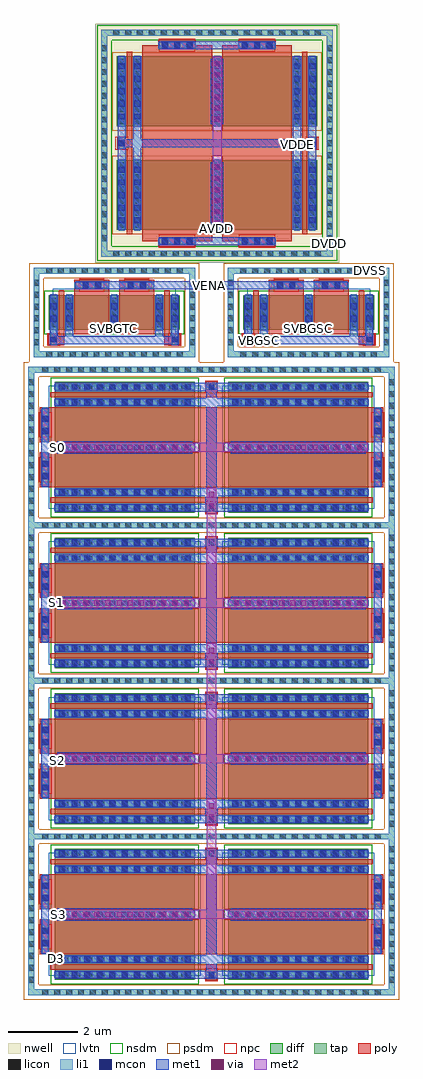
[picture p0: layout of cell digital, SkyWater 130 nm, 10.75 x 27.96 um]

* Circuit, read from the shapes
.subckt digital AVDD D3 DVDD DVSS ENA S0 S1 S2 S3 SVBGSC SVBGTC VBGSC VBGTC VDDE VENA trim0 trim1 trim2 trim3
XM1 D3 D3 D3 DVSS sky130_fd_pr__nfet_01v8_lvt w=4 l=0.15 m=4
XM2 S3 trim3 D3 DVSS sky130_fd_pr__nfet_01v8_lvt w=4 l=1 m=4
XM3 S3 S3 S3 DVSS sky130_fd_pr__nfet_01v8_lvt w=4 l=0.15 m=4
XM4 S2 trim2 S3 DVSS sky130_fd_pr__nfet_01v8_lvt w=4 l=1 m=4
XM5 S2 S2 S2 DVSS sky130_fd_pr__nfet_01v8_lvt w=4 l=0.15 m=4
XM6 S1 trim1 S2 DVSS sky130_fd_pr__nfet_01v8_lvt w=4 l=1 m=4
XM7 S1 S1 S1 DVSS sky130_fd_pr__nfet_01v8_lvt w=4 l=0.15 m=4
XM8 S0 trim0 S1 DVSS sky130_fd_pr__nfet_01v8_lvt w=4 l=1 m=4
XM9 VBGTC VBGTC VBGTC DVSS sky130_fd_pr__nfet_01v8_lvt w=1 l=0.15 m=2
XM10 SVBGTC VENA VBGTC DVSS sky130_fd_pr__nfet_01v8_lvt w=1 l=1 m=2
XM11 VBGSC VBGSC VBGSC DVSS sky130_fd_pr__nfet_01v8_lvt w=1 l=0.15 m=2
XM12 SVBGSC VENA VBGSC DVSS sky130_fd_pr__nfet_01v8_lvt w=1 l=1 m=2
XM13 VDDE VDDE VDDE DVDD sky130_fd_pr__pfet_01v8 w=2 l=0.15 m=4
XM14 AVDD ENA VDDE DVDD sky130_fd_pr__pfet_01v8 w=2 l=2 m=4
.ends

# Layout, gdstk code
from math import pi, radians
import gdstk
lib = gdstk.Library(unit=1e-6, precision=1e-09)
def R(c, l, rs):  # rectangles x0, y0, x1, y1
    for r in rs: c.add(gdstk.rectangle(r[:2], r[2:], *l))
def A(c, l, x, y, w, h, nx, ny, dx, dy):  # array of equal rectangles
    R(c, l, [(x+i*dx, y+j*dy, x+i*dx+w, y+j*dy+h) for i in range(nx) for j in range(ny)])
nwell = (64, 20)
diff = (65, 20)
tap = (65, 44)
poly = (66, 20)
licon = (66, 44)
li1 = (67, 20)
mcon = (67, 44)
met1 = (68, 20)
via = (68, 44)
met2 = (69, 20)
nsdm = (93, 44)
psdm = (94, 20)
npc = (95, 20)
lvtn = (125, 44)

sky130_fd_pr__nfet_01v8_ = lib.new_cell('sky130_fd_pr__nfet_01v8_lvt_U8VHVM')
R(sky130_fd_pr__nfet_01v8_, diff, [(-1.435,-0.655,1.435,0.345)])
R(sky130_fd_pr__nfet_01v8_, poly, [(-1.145,-0.785,-0.145,0.785), (0.145,-0.785,1.145,0.785)])
A(sky130_fd_pr__nfet_01v8_, licon, -1.375, -0.58, 0.17, 0.17, 3, 3, 1.29, 0.34)
R(sky130_fd_pr__nfet_01v8_, licon, [(-0.9,0.535,-0.73,0.705), (-0.56,0.535,-0.39,0.705), (0.39,0.535,0.56,0.705), (0.73,0.535,0.9,0.705)])
A(sky130_fd_pr__nfet_01v8_, li1, -1.375, -0.675, 0.17, 1.04, 3, 1, 1.29, 0)
R(sky130_fd_pr__nfet_01v8_, li1, [(-1.145,0.535,-0.145,0.705), (0.145,0.535,1.145,0.705)])
A(sky130_fd_pr__nfet_01v8_, mcon, -1.375, -0.42, 0.17, 0.17, 3, 2, 1.29, 0.36)
R(sky130_fd_pr__nfet_01v8_, mcon, [(-0.91,0.535,-0.74,0.705), (-0.55,0.535,-0.38,0.705), (0.38,0.535,0.55,0.705), (0.74,0.535,0.91,0.705)])
A(sky130_fd_pr__nfet_01v8_, met1, -1.405, -0.655, 0.23, 1, 3, 1, 1.29, 0)
R(sky130_fd_pr__nfet_01v8_, met1, [(-1.125,0.505,-0.165,0.735), (0.165,0.505,1.125,0.735)])
R(sky130_fd_pr__nfet_01v8_, nsdm, [(-1.56,-0.78,1.56,0.47)])
R(sky130_fd_pr__nfet_01v8_, npc, [(-1,0.435,-0.29,0.805), (0.29,0.435,1,0.805)])
R(sky130_fd_pr__nfet_01v8_, lvtn, [(-1.325,-0.835,1.325,0.525)])

c_sky130_fd_pr__nfet_01v8_ = lib.new_cell('sky130_fd_pr__nfet_01v8_lvt_SJFSNB')
R(c_sky130_fd_pr__nfet_01v8_, diff, [(-0.365,-0.5,0.365,0.5)])
R(c_sky130_fd_pr__nfet_01v8_, poly, [(-0.075,-0.63,0.075,0.63)])
A(c_sky130_fd_pr__nfet_01v8_, licon, -0.305, -0.425, 0.17, 0.17, 1, 3, 0, 0.34)
A(c_sky130_fd_pr__nfet_01v8_, licon, 0.135, -0.425, 0.17, 0.17, 1, 3, 0, 0.34)
R(c_sky130_fd_pr__nfet_01v8_, li1, [(-0.305,-0.52,-0.135,0.52), (0.135,-0.52,0.305,0.52)])
R(c_sky130_fd_pr__nfet_01v8_, mcon, [(-0.305,-0.265,-0.135,-0.095), (0.135,-0.265,0.305,-0.095), (-0.305,0.095,-0.135,0.265), (0.135,0.095,0.305,0.265)])
R(c_sky130_fd_pr__nfet_01v8_, met1, [(-0.335,-0.5,-0.105,0.5), (0.105,-0.5,0.335,0.5)])
R(c_sky130_fd_pr__nfet_01v8_, nsdm, [(-0.49,-0.625,0.49,0.625)])
R(c_sky130_fd_pr__nfet_01v8_, lvtn, [(-0.255,-0.68,0.255,0.68)])

vena = lib.new_cell('vena')
R(vena, tap, [(-0.88,-0.34,3.75,-0.17), (-0.88,-0.17,-0.71,2.05), (3.58,-0.17,3.75,2.05), (-0.88,2.05,3.75,2.22)])
R(vena, poly, [(-0.46,0,0,0.33), (2.87,0,3.33,0.33), (-0.15,0.33,0,0.44), (-0.15,1.44,0,1.445)])
A(vena, licon, -0.52, -0.34, 0.17, 0.17, 12, 2, 0.34, 2.39)
A(vena, licon, -0.88, 0.005, 0.17, 0.17, 1, 6, 0, 0.34)
A(vena, licon, 3.58, 0.005, 0.17, 0.17, 1, 6, 0, 0.34)
R(vena, licon, [(-0.38,0.08,-0.21,0.25), (3.08,0.08,3.25,0.25)])
R(vena, li1, [(-0.88,-0.34,3.75,-0.17), (-0.88,-0.17,-0.71,2.05), (3.58,-0.17,3.75,2.05), (-0.38,0,-0.21,0.44), (3.08,0,3.25,0.495), (-0.38,1.44,-0.21,1.445), (-0.88,2.05,3.75,2.22)])
R(vena, mcon, [(-0.38,0.08,-0.21,0.25), (3.08,0.08,3.25,0.25)])
R(vena, met1, [(-0.41,0.02,-0.18,0.03), (3.05,0.02,3.28,0.03), (-0.41,0.03,3.28,0.26), (-0.41,0.26,-0.18,0.44), (0.03,0.26,0.26,0.45), (2.61,0.26,2.84,0.475), (3.05,0.26,3.28,0.485), (1.32,1.33,1.55,1.44), (-0.41,1.44,-0.18,1.445), (1.27,1.6,1.6,1.83)])
R(vena, psdm, [(-1.005,-0.465,3.875,-0.045), (-1.005,-0.045,-0.585,1.925), (3.455,-0.045,3.875,1.925), (-1.005,1.925,3.875,2.345)])
R(vena, npc, [(-0.48,-0.02,-0.11,0.35), (2.98,-0.02,3.35,0.35)])
vena.add(gdstk.Reference(sky130_fd_pr__nfet_01v8_, (1.435,1.095)))
vena.add(gdstk.Reference(c_sky130_fd_pr__nfet_01v8_, (2.945,0.94)))
vena.add(gdstk.Reference(c_sky130_fd_pr__nfet_01v8_, (-0.075,0.94), rotation=pi))
vena.add(gdstk.Label('G', (1.42,1.77), layer=68, texttype=5))
vena.add(gdstk.Label('D', (1.41,0.16), layer=68, texttype=5))
vena.add(gdstk.Label('S', (1.44,1.4), layer=68, texttype=5))
vena.add(gdstk.Label('DVSS', (3.63,0.455), layer=67, texttype=5))

c_sky130_fd_pr__nfet_01v8__ = lib.new_cell('sky130_fd_pr__nfet_01v8_lvt_UG4D4N')
R(c_sky130_fd_pr__nfet_01v8__, diff, [(-1.435,-1.845,1.435,2.155)])
R(c_sky130_fd_pr__nfet_01v8__, poly, [(-1.145,-2.285,-0.145,2.285), (0.145,-2.285,1.145,2.285)])
A(c_sky130_fd_pr__nfet_01v8__, licon, -1.375, -1.63, 0.17, 0.17, 3, 11, 1.29, 0.34)
R(c_sky130_fd_pr__nfet_01v8__, licon, [(-0.9,-2.205,-0.73,-2.035), (-0.56,-2.205,-0.39,-2.035), (0.39,-2.205,0.56,-2.035), (0.73,-2.205,0.9,-2.035)])
A(c_sky130_fd_pr__nfet_01v8__, li1, -1.375, -1.865, 0.17, 4.04, 3, 1, 1.29, 0)
R(c_sky130_fd_pr__nfet_01v8__, li1, [(-1.145,-2.205,-0.145,-2.035), (0.145,-2.205,1.145,-2.035)])
A(c_sky130_fd_pr__nfet_01v8__, mcon, -1.375, -1.73, 0.17, 0.17, 3, 11, 1.29, 0.36)
R(c_sky130_fd_pr__nfet_01v8__, mcon, [(-0.91,-2.205,-0.74,-2.035), (-0.55,-2.205,-0.38,-2.035), (0.38,-2.205,0.55,-2.035), (0.74,-2.205,0.91,-2.035)])
A(c_sky130_fd_pr__nfet_01v8__, met1, -1.405, -1.845, 0.23, 4, 3, 1, 1.29, 0)
R(c_sky130_fd_pr__nfet_01v8__, met1, [(-1.125,-2.235,-0.165,-2.005), (0.165,-2.235,1.125,-2.005)])
R(c_sky130_fd_pr__nfet_01v8__, nsdm, [(-1.56,-1.97,1.56,2.28)])
R(c_sky130_fd_pr__nfet_01v8__, npc, [(-1,-2.305,-0.29,-1.935), (0.29,-2.305,1,-1.935)])
R(c_sky130_fd_pr__nfet_01v8__, lvtn, [(-1.325,-2.025,1.325,2.335)])

c_sky130_fd_pr__nfet_01v8___ = lib.new_cell('sky130_fd_pr__nfet_01v8_lvt_TGDTCU')
R(c_sky130_fd_pr__nfet_01v8___, diff, [(-1.435,-2.155,1.435,1.845)])
R(c_sky130_fd_pr__nfet_01v8___, poly, [(-1.145,-2.285,-0.145,2.285), (0.145,-2.285,1.145,2.285)])
A(c_sky130_fd_pr__nfet_01v8___, licon, -1.375, -1.94, 0.17, 0.17, 3, 11, 1.29, 0.34)
R(c_sky130_fd_pr__nfet_01v8___, licon, [(-0.9,2.035,-0.73,2.205), (-0.56,2.035,-0.39,2.205), (0.39,2.035,0.56,2.205), (0.73,2.035,0.9,2.205)])
A(c_sky130_fd_pr__nfet_01v8___, li1, -1.375, -2.175, 0.17, 4.04, 3, 1, 1.29, 0)
R(c_sky130_fd_pr__nfet_01v8___, li1, [(-1.145,2.035,-0.145,2.205), (0.145,2.035,1.145,2.205)])
A(c_sky130_fd_pr__nfet_01v8___, mcon, -1.375, -2.04, 0.17, 0.17, 3, 11, 1.29, 0.36)
R(c_sky130_fd_pr__nfet_01v8___, mcon, [(-0.91,2.035,-0.74,2.205), (-0.55,2.035,-0.38,2.205), (0.38,2.035,0.55,2.205), (0.74,2.035,0.91,2.205)])
A(c_sky130_fd_pr__nfet_01v8___, met1, -1.405, -2.155, 0.23, 4, 3, 1, 1.29, 0)
R(c_sky130_fd_pr__nfet_01v8___, met1, [(-1.125,2.005,-0.165,2.235), (0.165,2.005,1.125,2.235)])
R(c_sky130_fd_pr__nfet_01v8___, nsdm, [(-1.56,-2.28,1.56,1.97)])
R(c_sky130_fd_pr__nfet_01v8___, npc, [(-1,1.935,-0.29,2.305), (0.29,1.935,1,2.305)])
R(c_sky130_fd_pr__nfet_01v8___, lvtn, [(-1.325,-2.335,1.325,2.025)])

c_sky130_fd_pr__nfet_01v8____ = lib.new_cell('sky130_fd_pr__nfet_01v8_lvt_QJFS9J')
R(c_sky130_fd_pr__nfet_01v8____, diff, [(-0.365,-2,0.365,2)])
R(c_sky130_fd_pr__nfet_01v8____, poly, [(-0.075,-2.13,0.075,2.13)])
A(c_sky130_fd_pr__nfet_01v8____, licon, -0.305, -1.785, 0.17, 0.17, 1, 11, 0, 0.34)
A(c_sky130_fd_pr__nfet_01v8____, licon, 0.135, -1.785, 0.17, 0.17, 1, 11, 0, 0.34)
R(c_sky130_fd_pr__nfet_01v8____, li1, [(-0.305,-2.02,-0.135,2.02), (0.135,-2.02,0.305,2.02)])
A(c_sky130_fd_pr__nfet_01v8____, mcon, -0.305, -1.885, 0.17, 0.17, 1, 11, 0, 0.36)
A(c_sky130_fd_pr__nfet_01v8____, mcon, 0.135, -1.885, 0.17, 0.17, 1, 11, 0, 0.36)
R(c_sky130_fd_pr__nfet_01v8____, met1, [(-0.335,-2,-0.105,2), (0.105,-2,0.335,2)])
R(c_sky130_fd_pr__nfet_01v8____, nsdm, [(-0.49,-2.125,0.49,2.125)])
R(c_sky130_fd_pr__nfet_01v8____, lvtn, [(-0.255,-2.18,0.255,2.18)])

trim = lib.new_cell('trim')
R(trim, tap, [(-0.88,-5.605,3.75,-5.435), (-0.88,-5.435,-0.71,4.725), (3.58,-5.435,3.75,4.725), (-0.88,4.725,3.75,4.895)])
R(trim, poly, [(-0.15,-0.84,0,-0.52), (0.29,-0.71,2.58,0), (2.87,-0.71,3.02,-0.52), (-0.46,-0.52,0,-0.19), (2.87,-0.52,3.33,-0.19), (-0.15,-0.19,0,0.13), (2.87,-0.19,3.02,0)])
A(trim, licon, -0.52, -5.605, 0.17, 0.17, 12, 2, 0.34, 10.33)
A(trim, licon, -0.88, -5.2, 0.17, 0.17, 1, 29, 0, 0.34)
A(trim, licon, 3.58, -5.2, 0.17, 0.17, 1, 29, 0, 0.34)
R(trim, licon, [(-0.38,-0.44,-0.21,-0.27), (3.08,-0.44,3.25,-0.27)])
R(trim, li1, [(-0.88,-5.605,3.75,-5.435), (-0.88,-5.435,-0.71,4.725), (3.58,-5.435,3.75,4.725), (-0.38,-0.84,-0.21,-0.82), (-0.38,-0.52,-0.21,-0.19), (3.08,-0.52,3.25,-0.19), (-0.38,0.11,-0.21,0.13), (-0.88,4.725,3.75,4.895)])
R(trim, mcon, [(-0.38,-0.44,-0.21,-0.27), (3.08,-0.44,3.25,-0.27)])
R(trim, met1, [(1.185,-5.23,1.61,-5), (1.255,-4.78,1.615,-0.9), (0.03,-0.86,0.26,-0.5), (2.61,-0.85,2.84,-0.5), (-0.41,-0.84,-0.18,-0.5), (3.05,-0.84,3.28,-0.5), (-0.41,-0.5,3.28,-0.21), (-0.41,-0.21,-0.18,0.13), (0.03,-0.21,0.26,0.22), (2.61,-0.21,2.84,0.23), (3.05,-0.21,3.28,0.13), (1.255,0.19,1.615,4.07), (1.225,4.29,1.65,4.52)])
A(trim, via, 1.36, -4.675, 0.15, 0.15, 1, 12, 0, 0.32)
A(trim, via, 1.36, 0.295, 0.15, 0.15, 1, 12, 0, 0.32)
R(trim, met2, [(1.305,-4.83,1.565,4.12)])
R(trim, psdm, [(-1.005,-5.73,3.875,-5.31), (-1.005,-5.31,-0.585,4.6), (3.455,-5.31,3.875,4.6), (-1.005,4.6,3.875,5.02)])
R(trim, npc, [(-0.48,-0.54,-0.11,-0.17), (2.98,-0.54,3.35,-0.17)])
trim.add(gdstk.Reference(c_sky130_fd_pr__nfet_01v8__, (1.435,-2.995)))
trim.add(gdstk.Reference(c_sky130_fd_pr__nfet_01v8___, (1.435,2.285)))
trim.add(gdstk.Reference(c_sky130_fd_pr__nfet_01v8____, (-0.075,2.13)))
trim.add(gdstk.Reference(c_sky130_fd_pr__nfet_01v8____, (2.945,2.13)))
trim.add(gdstk.Reference(c_sky130_fd_pr__nfet_01v8____, (-0.075,-2.84)))
trim.add(gdstk.Reference(c_sky130_fd_pr__nfet_01v8____, (2.945,-2.84)))
trim.add(gdstk.Label('S', (1.43,0.07), layer=69, texttype=5))
trim.add(gdstk.Label('G', (1.41,-5.13), layer=68, texttype=5))
trim.add(gdstk.Label('D', (2.735,-0.755), layer=68, texttype=5))
trim.add(gdstk.Label('DVSS', (-0.825,-0.34), layer=67, texttype=5))

sky130_fd_pr__pfet_01v8_ = lib.new_cell('sky130_fd_pr__pfet_01v8_CVH45E')
R(sky130_fd_pr__pfet_01v8_, nwell, [(-2.615,-1.32,2.615,1.49)])
R(sky130_fd_pr__pfet_01v8_, diff, [(-2.435,-0.82,2.435,1.18)])
R(sky130_fd_pr__pfet_01v8_, poly, [(-1.685,-1.305,-0.605,-1.14), (0.605,-1.305,1.685,-1.14), (-2.145,-1.14,-0.145,1.31), (0.145,-1.14,2.145,1.31)])
A(sky130_fd_pr__pfet_01v8_, licon, -1.57, -1.225, 0.17, 0.17, 3, 1, 0.34, 0)
A(sky130_fd_pr__pfet_01v8_, licon, 0.72, -1.225, 0.17, 0.17, 3, 1, 0.34, 0)
A(sky130_fd_pr__pfet_01v8_, licon, -2.375, -0.755, 0.17, 0.17, 3, 6, 2.29, 0.34)
A(sky130_fd_pr__pfet_01v8_, li1, -2.375, -0.84, 0.17, 2.04, 3, 1, 2.29, 0)
R(sky130_fd_pr__pfet_01v8_, li1, [(-1.685,-1.225,-0.605,-1.055), (0.605,-1.225,1.685,-1.055)])
A(sky130_fd_pr__pfet_01v8_, mcon, -1.59, -1.225, 0.17, 0.17, 3, 1, 0.36, 0)
A(sky130_fd_pr__pfet_01v8_, mcon, 0.7, -1.225, 0.17, 0.17, 3, 1, 0.36, 0)
A(sky130_fd_pr__pfet_01v8_, mcon, -2.375, -0.625, 0.17, 0.17, 3, 5, 2.29, 0.36)
A(sky130_fd_pr__pfet_01v8_, met1, -2.405, -0.82, 0.23, 2, 3, 1, 2.29, 0)
R(sky130_fd_pr__pfet_01v8_, met1, [(-1.665,-1.255,-0.625,-1.025), (0.625,-1.255,1.665,-1.025)])
R(sky130_fd_pr__pfet_01v8_, psdm, [(-2.56,-0.945,2.56,1.305)])
R(sky130_fd_pr__pfet_01v8_, npc, [(-1.67,-1.325,-0.62,-0.955), (0.62,-1.325,1.67,-0.955)])

c_sky130_fd_pr__pfet_01v8_ = lib.new_cell('sky130_fd_pr__pfet_01v8_9XC4R9')
R(c_sky130_fd_pr__pfet_01v8_, nwell, [(-2.615,-1.49,2.615,1.32)])
R(c_sky130_fd_pr__pfet_01v8_, diff, [(-2.435,-1.18,2.435,0.82)])
R(c_sky130_fd_pr__pfet_01v8_, poly, [(-2.145,-1.31,-0.145,1.14), (0.145,-1.31,2.145,1.14), (-1.685,1.14,-0.605,1.305), (0.605,1.14,1.685,1.305)])
A(c_sky130_fd_pr__pfet_01v8_, licon, -2.375, -1.115, 0.17, 0.17, 3, 6, 2.29, 0.34)
A(c_sky130_fd_pr__pfet_01v8_, licon, -1.57, 1.055, 0.17, 0.17, 3, 1, 0.34, 0)
A(c_sky130_fd_pr__pfet_01v8_, licon, 0.72, 1.055, 0.17, 0.17, 3, 1, 0.34, 0)
A(c_sky130_fd_pr__pfet_01v8_, li1, -2.375, -1.2, 0.17, 2.04, 3, 1, 2.29, 0)
R(c_sky130_fd_pr__pfet_01v8_, li1, [(-1.685,1.055,-0.605,1.225), (0.605,1.055,1.685,1.225)])
A(c_sky130_fd_pr__pfet_01v8_, mcon, -2.375, -0.985, 0.17, 0.17, 3, 5, 2.29, 0.36)
A(c_sky130_fd_pr__pfet_01v8_, mcon, -1.59, 1.055, 0.17, 0.17, 3, 1, 0.36, 0)
A(c_sky130_fd_pr__pfet_01v8_, mcon, 0.7, 1.055, 0.17, 0.17, 3, 1, 0.36, 0)
A(c_sky130_fd_pr__pfet_01v8_, met1, -2.405, -1.18, 0.23, 2, 3, 1, 2.29, 0)
R(c_sky130_fd_pr__pfet_01v8_, met1, [(-1.665,1.025,-0.625,1.255), (0.625,1.025,1.665,1.255)])
R(c_sky130_fd_pr__pfet_01v8_, psdm, [(-2.56,-1.305,2.56,0.945)])
R(c_sky130_fd_pr__pfet_01v8_, npc, [(-1.67,0.955,-0.62,1.325), (0.62,0.955,1.67,1.325)])

c_sky130_fd_pr__pfet_01v8__ = lib.new_cell('sky130_fd_pr__pfet_01v8_2ZH9EN')
R(c_sky130_fd_pr__pfet_01v8__, nwell, [(-0.545,-1.31,0.545,1.31)])
R(c_sky130_fd_pr__pfet_01v8__, diff, [(-0.365,-1,0.365,1)])
R(c_sky130_fd_pr__pfet_01v8__, poly, [(-0.075,-1.13,0.075,1.13)])
A(c_sky130_fd_pr__pfet_01v8__, licon, -0.305, -0.935, 0.17, 0.17, 1, 6, 0, 0.34)
A(c_sky130_fd_pr__pfet_01v8__, licon, 0.135, -0.935, 0.17, 0.17, 1, 6, 0, 0.34)
R(c_sky130_fd_pr__pfet_01v8__, li1, [(-0.305,-1.02,-0.135,1.02), (0.135,-1.02,0.305,1.02)])
A(c_sky130_fd_pr__pfet_01v8__, mcon, -0.305, -0.805, 0.17, 0.17, 1, 5, 0, 0.36)
A(c_sky130_fd_pr__pfet_01v8__, mcon, 0.135, -0.805, 0.17, 0.17, 1, 5, 0, 0.36)
R(c_sky130_fd_pr__pfet_01v8__, met1, [(-0.335,-1,-0.105,1), (0.105,-1,0.335,1)])
R(c_sky130_fd_pr__pfet_01v8__, psdm, [(-0.49,-1.125,0.49,1.125)])

pmos_ena = lib.new_cell('pmos_ena')
R(pmos_ena, nwell, [(-0.88,-2.605,6.11,4.255)])
R(pmos_ena, tap, [(-0.7,-2.425,5.93,-2.255), (-0.7,-2.255,-0.53,3.905), (5.76,-2.255,5.93,3.905), (-0.7,3.905,5.93,4.075)])
R(pmos_ena, poly, [(0.03,0.47,0.18,0.66), (0.47,0.47,4.76,1.18), (5.05,0.47,5.2,0.66), (-0.25,0.66,0.18,0.99), (5.05,0.66,5.48,0.99), (0.03,0.99,0.18,1.18), (5.05,0.99,5.2,1.18)])
A(pmos_ena, licon, -0.36, -2.425, 0.17, 0.17, 18, 2, 0.34, 6.33)
A(pmos_ena, licon, -0.7, -1.98, 0.17, 0.17, 1, 17, 0, 0.34)
A(pmos_ena, licon, 5.76, -1.98, 0.17, 0.17, 1, 17, 0, 0.34)
R(pmos_ena, licon, [(-0.2,0.74,-0.03,0.91), (5.26,0.74,5.43,0.91)])
R(pmos_ena, li1, [(-0.7,-2.425,5.93,-2.255), (-0.7,-2.255,-0.53,3.905), (5.76,-2.255,5.93,3.905), (-0.2,0.66,-0.03,0.99), (5.26,0.66,5.43,0.99), (-0.7,3.905,5.93,4.075)])
R(pmos_ena, mcon, [(-0.2,0.74,-0.03,0.91), (5.26,0.74,5.43,0.91)])
R(pmos_ena, met1, [(1.95,-2.095,3.305,-1.865), (2.435,-1.6,2.795,0.28), (4.79,0.305,5.02,0.71), (0.21,0.315,0.44,0.71), (5.23,0.325,5.46,0.71), (-0.23,0.335,0,0.71), (-0.23,0.71,5.46,0.94), (-0.23,0.94,0,1.315), (0.21,0.94,0.44,1.345), (4.79,0.94,5.02,1.335), (5.23,0.94,5.46,1.325), (2.435,1.37,2.795,3.25), (1.945,3.515,3.3,3.74), (4.12,3.515,4.28,3.74)])
A(pmos_ena, via, 2.54, -1.535, 0.15, 0.15, 1, 6, 0, 0.32)
A(pmos_ena, via, 2.54, 1.435, 0.15, 0.15, 1, 6, 0, 0.32)
R(pmos_ena, met2, [(2.485,-1.65,2.745,3.3)])
R(pmos_ena, nsdm, [(-0.825,-2.55,6.055,-2.13), (-0.825,-2.13,-0.405,3.78), (5.635,-2.13,6.055,3.78), (-0.825,3.78,6.055,4.2)])
R(pmos_ena, npc, [(-0.3,0.64,0.07,1.01), (5.16,0.64,5.53,1.01)])
pmos_ena.add(gdstk.Reference(sky130_fd_pr__pfet_01v8_, (2.615,-0.84)))
pmos_ena.add(gdstk.Reference(c_sky130_fd_pr__pfet_01v8_, (2.615,2.49)))
pmos_ena.add(gdstk.Reference(c_sky130_fd_pr__pfet_01v8__, (0.105,2.31)))
pmos_ena.add(gdstk.Reference(c_sky130_fd_pr__pfet_01v8__, (5.125,2.31)))
pmos_ena.add(gdstk.Reference(c_sky130_fd_pr__pfet_01v8__, (5.125,-0.66)))
pmos_ena.add(gdstk.Reference(c_sky130_fd_pr__pfet_01v8__, (0.105,-0.66)))
pmos_ena.add(gdstk.Label('G', (4.24,3.65), layer=68, texttype=5))
pmos_ena.add(gdstk.Label('VDDE', (4.91,0.78), layer=68, texttype=5))
pmos_ena.add(gdstk.Label('AVDD', (2.64,1.285), layer=69, texttype=5))
pmos_ena.add(gdstk.Label('DVDD', (5.79,3.435), layer=67, texttype=5))

digital = lib.new_cell('digital')
R(digital, nwell, [(8.145,17.23,8.315,23.13)])
R(digital, tap, [(8.145,17.23,8.315,23.13)])
A(digital, licon, 8.145, 17.375, 0.17, 0.17, 1, 17, 0, 0.34)
R(digital, li1, [(8.145,17.23,8.315,23.13)])
A(digital, met1, 4.66, 0.73, 0.36, 0.61, 1, 3, 0, 4.46)
R(digital, met1, [(0.355,-3.32,0.495,-3.09), (-0.035,-2.045,0.195,-1.945), (-0.035,2.32,0.195,2.415), (-0.035,6.78,0.195,6.86), (-0.035,11.24,0.195,11.31), (3.115,14.42,3.155,14.65), (6.165,14.42,6.28,14.65), (1.94,14.83,2.17,14.915), (7.51,14.83,7.74,14.91), (3.015,15.99,6.64,16.22), (4.89,17.26,5.07,17.49), (7.215,20.045,7.375,20.225)])
R(digital, via, [(4.765,0.8,4.915,0.95), (4.765,1.12,4.915,1.27), (4.765,5.26,4.915,5.41), (4.765,5.58,4.915,5.73), (4.765,9.72,4.915,9.87), (4.765,10.04,4.915,10.19)])
R(digital, met2, [(0.365,-2.045,0.55,-1.785), (4.71,-1.95,4.97,1.39), (0.365,2.415,0.51,2.675), (4.71,2.535,4.97,5.85), (0.365,6.875,0.455,7.135), (4.71,7.06,4.97,10.31), (0.365,11.335,0.545,11.595), (4.87,17.705,5.13,17.805)])
R(digital, nsdm, [(8.02,17.105,8.44,23.255)])
R(digital, psdm, [(-0.385,13.905,4.495,13.925), (5.185,13.905,10.065,13.925)])
digital.add(gdstk.Reference(vena, (9.06,14.39), rotation=pi, x_reflection=True))
digital.add(gdstk.Reference(vena, (0.62,14.39)))
digital.add(gdstk.Reference(trim, (5.195,12.9), rotation=3*pi/2))
digital.add(gdstk.Reference(trim, (5.195,8.44), rotation=3*pi/2))
digital.add(gdstk.Reference(trim, (5.195,3.98), rotation=3*pi/2))
digital.add(gdstk.Reference(trim, (5.195,-0.48), rotation=3*pi/2))
digital.add(gdstk.Reference(pmos_ena, (2.385,19.355)))
digital.add(gdstk.Label('AVDD', (4.985,17.74), layer=69, texttype=5))
digital.add(gdstk.Label('D3', (0.405,-3.185), layer=68, texttype=5))
digital.add(gdstk.Label('DVSS', (9.4,16.52), layer=64, texttype=59))
digital.add(gdstk.Label('ENA', (4.935,17.345), layer=68, texttype=5))
digital.add(gdstk.Label('S0', (0.425,11.46), layer=69, texttype=5))
digital.add(gdstk.Label('S1', (0.4,7.03), layer=69, texttype=5))
digital.add(gdstk.Label('S2', (0.44,2.485), layer=69, texttype=5))
digital.add(gdstk.Label('S3', (0.45,-1.925), layer=69, texttype=5))
digital.add(gdstk.Label('SVBGSC', (7.615,14.865), layer=68, texttype=5))
digital.add(gdstk.Label('SVBGTC', (2.035,14.87), layer=68, texttype=5))
digital.add(gdstk.Label('trim0', (0.04,11.275), layer=68, texttype=5))
digital.add(gdstk.Label('trim1', (0.005,6.8), layer=68, texttype=5))
digital.add(gdstk.Label('trim2', (0.03,2.355), layer=68, texttype=5))
digital.add(gdstk.Label('trim3', (0.02,-2), layer=68, texttype=5))
digital.add(gdstk.Label('VBGSC', (6.215,14.53), layer=68, texttype=5))
digital.add(gdstk.Label('VBGTC', (3.135,14.53), layer=68, texttype=5))
digital.add(gdstk.Label('VDDE', (7.3,20.14), layer=68, texttype=5))
digital.add(gdstk.Label('VENA', (4.775,16.095), layer=68, texttype=5))
digital.add(gdstk.Label('DVDD', (8.21,17.305), layer=67, texttype=5))

lib.write_gds('digital.gds')
